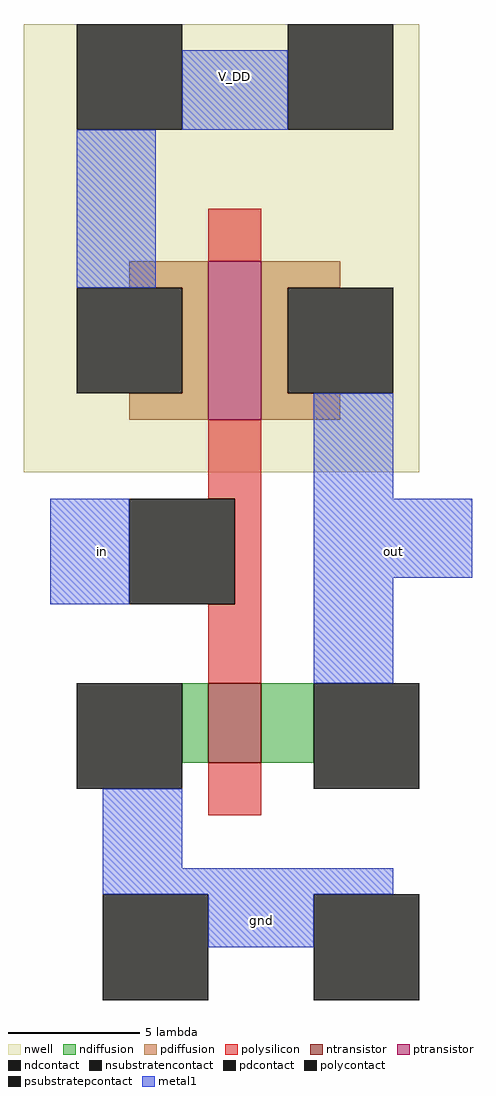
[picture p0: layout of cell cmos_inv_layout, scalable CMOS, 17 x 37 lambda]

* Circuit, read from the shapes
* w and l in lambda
.subckt cmos_inv_layout V_DD gnd in out
M1 out in gnd gnd nfet w=3 l=2
M2 out in V_DD V_DD pfet w=6 l=2
.ends

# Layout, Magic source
magic
tech scmos
<< nwell >>
rect -8 -4 7 13
<< polysilicon >>
rect -1 4 1 6
rect -1 -5 1 -2
rect 0 -9 1 -5
rect -1 -12 1 -9
rect -1 -17 1 -15
<< ndiffusion >>
rect -2 -15 -1 -12
rect 1 -15 3 -12
<< pdiffusion >>
rect -4 3 -1 4
rect -2 -1 -1 3
rect -4 -2 -1 -1
rect 1 3 4 4
rect 1 -1 2 3
rect 1 -2 4 -1
<< metal1 >>
rect -2 9 2 12
rect -6 3 -3 9
rect 3 -5 6 -1
rect -7 -9 -4 -5
rect 3 -8 9 -5
rect 3 -12 6 -8
rect -5 -19 -2 -16
rect -5 -20 6 -19
rect -1 -22 3 -20
<< ntransistor >>
rect -1 -15 1 -12
<< ptransistor >>
rect -1 -2 1 4
<< polycontact >>
rect -4 -9 0 -5
<< ndcontact >>
rect -6 -16 -2 -12
rect 3 -16 7 -12
<< pdcontact >>
rect -6 -1 -2 3
rect 2 -1 6 3
<< psubstratepcontact >>
rect -5 -24 -1 -20
rect 3 -24 7 -20
<< nsubstratencontact >>
rect -6 9 -2 13
rect 2 9 6 13
<< labels >>
rlabel metal1 1 -21 1 -21 1 gnd
rlabel metal1 6 -7 6 -7 1 out
rlabel metal1 -5 -7 -5 -7 1 in
rlabel metal1 0 11 0 11 1 V_DD
<< end >>
